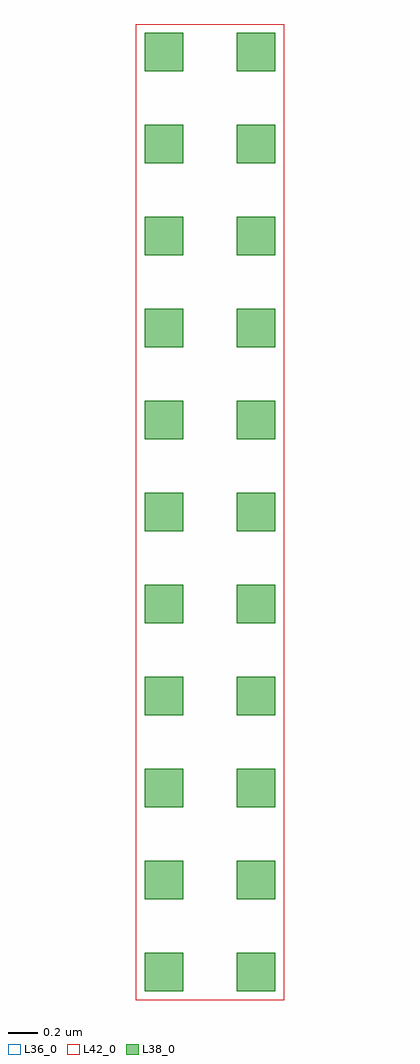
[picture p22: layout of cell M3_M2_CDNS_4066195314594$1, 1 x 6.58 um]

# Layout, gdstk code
import gdstk
lib = gdstk.Library(unit=1e-6, precision=1e-09)
def R(c, l, rs):  # rectangles x0, y0, x1, y1
    for r in rs: c.add(gdstk.rectangle(r[:2], r[2:], *l))
def A(c, l, x, y, w, h, nx, ny, dx, dy):  # array of equal rectangles
    R(c, l, [(x+i*dx, y+j*dy, x+i*dx+w, y+j*dy+h) for i in range(nx) for j in range(ny)])
L36_0 = (36, 0)
L38_0 = (38, 0)
L42_0 = (42, 0)

m3_m2_cdns_4066195314594 = lib.new_cell('M3_M2_CDNS_4066195314594$1')
R(m3_m2_cdns_4066195314594, L36_0, [(-0.5,-3.29,0.5,3.29)])
A(m3_m2_cdns_4066195314594, L38_0, -0.44, -3.23, 0.26, 0.26, 1, 11, 0, 0.62)
A(m3_m2_cdns_4066195314594, L38_0, 0.18, -3.23, 0.26, 0.26, 1, 11, 0, 0.62)
R(m3_m2_cdns_4066195314594, L42_0, [(-0.5,-3.29,0.5,3.29)])

lib.write_gds('M3_M2_CDNS_4066195314594_1.gds')
